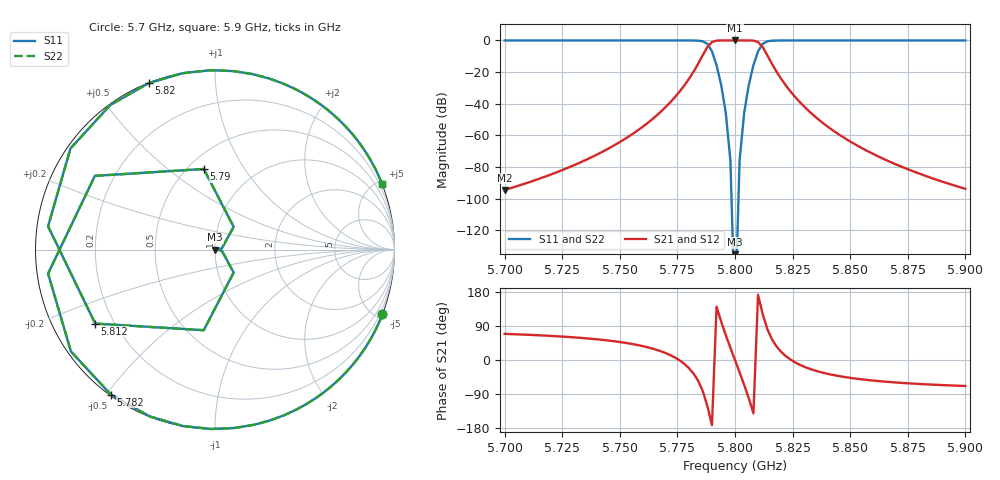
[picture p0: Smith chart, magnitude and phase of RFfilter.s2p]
# GHz S MA R 50
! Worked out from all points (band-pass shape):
!   101 points, 5.7 GHz to 5.9 GHz, reference 50 ohm
!   highest |S21| = 0.00 dB at 5.8 GHz (marker M1); lowest = -94.5 dB at 5.7 GHz (marker M2)
!   |S21| within 3 dB of the highest: 5.788736 GHz to 5.811271 GHz (22.54 MHz wide, 0.389 % of centre)
!   lowest |S11| = -175.4 dB at 5.8 GHz (marker M3), VSWR 1.00, Z = 50 - j4.11e-10 ohm
!   |S11| at or under -10 dB: 5.79071 GHz to 5.809288 GHz (18.58 MHz wide, 0.32 % of centre)
!   |S22| runs from -175.4 to 0.0 dB; largest |S21 - S12| = 0
!   S11 on the Smith chart (normalised r, x): 5.7 GHz: 0.00, -5.38; 5.782 GHz: 0.00, -0.51; 5.79 GHz: 0.60, +0.67; 5.812 GHz: 0.13, -0.28; 5.82 GHz: 0.00, +0.68; 5.9 GHz: -0.00, +5.28
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5.7  1 -21.1  1.882e-05 68.9  1.882e-05 68.9  1 -21.1
5.734  1 -32.1  0.0001526 57.9  0.0001526 57.9  1 -32.1
5.768  1 -67.3  0.005784 22.7  0.005784 22.7  1 -67.3
5.782  0.9947 -125.7  0.1029 -35.7  0.1029 -35.7  0.9947 -125.7
5.786  0.9396 -171.8  0.3423 -81.8  0.3423 -81.8  0.9396 -171.8
5.788  0.7852 148.5  0.6192 -121.5  0.6192 -121.5  0.7852 148.5
5.79  0.4535 97.9  0.8913 -172.1  0.8913 -172.1  0.4535 97.9
5.792  0.1642 50.7  0.9864 140.7  0.9864 140.7  0.1642 50.7
5.794  0.03936 11.1  0.9992 101.1  0.9992 101.1  0.03936 11.1
5.796  0.005163 -24.3  1 65.7  1 65.7  0.005163 -24.3
5.798  0.0001595 -57.6  1 32.4  1 32.4  0.0001595 -57.6
5.8  1.697e-09 -0.1  1 -0.1  1 -0.1  1.697e-09 -0.1
5.802  0.0001662 57.3  1 -32.7  1 -32.7  0.0001662 57.3
5.804  0.005258 24.0  1 -66.0  1 -66.0  0.005258 24.0
5.806  0.03972 -11.3  0.9992 -101.3  0.9992 -101.3  0.03972 -11.3
5.81  0.4535 -97.9  0.8913 172.1  0.8913 172.1  0.4535 -97.9
5.812  0.7843 -148.3  0.6204 121.7  0.6204 121.7  0.7843 -148.3
5.814  0.9389 172.1  0.3441 82.1  0.3441 82.1  0.9389 172.1
5.82  0.9981 111.7  0.06169 21.7  0.06169 21.7  0.9981 111.7
5.834  1 63.6  0.004383 -26.4  0.004383 -26.4  1 63.6
5.868  1 31.5  0.0001391 -58.5  0.0001391 -58.5  1 31.5
5.9  1 21.4  2.05e-05 -68.6  2.05e-05 -68.6  1 21.4
